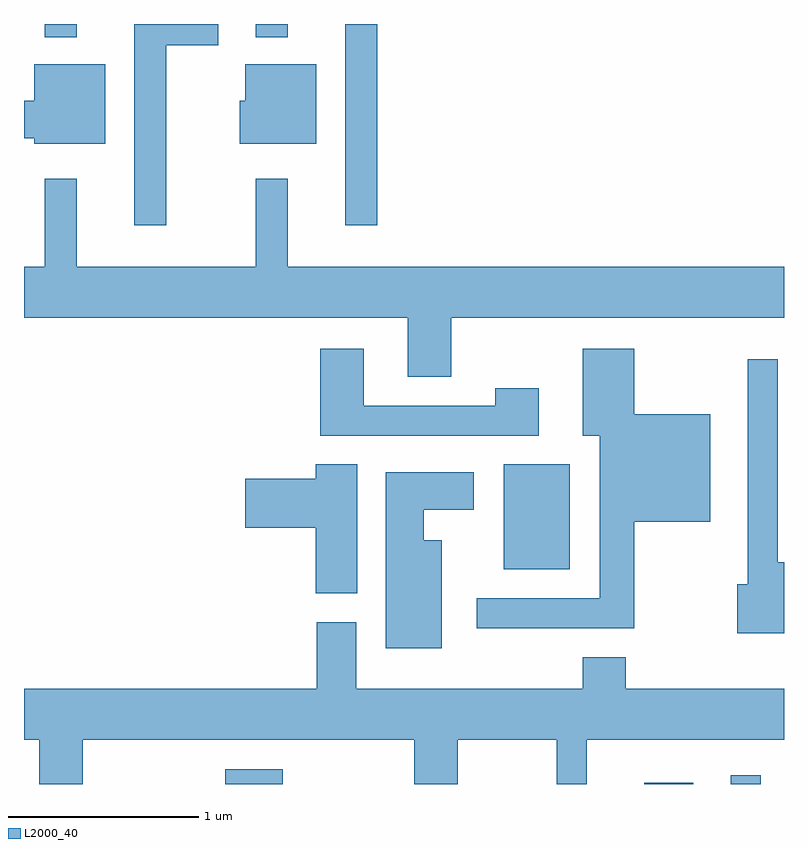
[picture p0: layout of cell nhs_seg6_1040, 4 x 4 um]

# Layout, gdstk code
import gdstk
lib = gdstk.Library(unit=1e-6, precision=1e-09)
def R(c, l, rs):  # rectangles x0, y0, x1, y1
    for r in rs: c.add(gdstk.rectangle(r[:2], r[2:], *l))
def P(c, l, *ps):  # polygons
    for p in ps: c.add(gdstk.Polygon(p, *l))
L2000_40 = (2000, 40)

nhs_seg6_1040 = lib.new_cell('nhs_seg6_1040')
R(nhs_seg6_1040, L2000_40, [(216.671,1634.162,216.974,1634.239), (218.876,1634.162,219.134,1634.169), (219.331,1634.162,219.489,1634.208), (218.136,1635.291,218.484,1635.844), (217.301,1637.103,217.469,1638.162), (215.721,1638.093,215.889,1638.162), (216.831,1638.093,216.999,1638.162)])
P(nhs_seg6_1040, L2000_40, [(216.359,1638.051),(216.634,1638.051),(216.634,1638.162),(216.191,1638.162),(216.191,1637.103),(216.359,1637.103)],
  [(216.039,1637.949),(215.666,1637.949),(215.666,1637.759),(215.611,1637.759),(215.611,1637.561),(215.666,1637.561),(215.666,1637.531),(216.039,1637.531)],
  [(217.149,1637.949),(216.776,1637.949),(216.776,1637.759),(216.746,1637.759),(216.746,1637.531),(217.149,1637.531)],
  [(217.859,1636.616),(219.611,1636.616),(219.611,1636.884),(216.999,1636.884),(216.999,1637.348),(216.831,1637.348),(216.831,1636.884),(215.889,1636.884),(215.889,1637.348),(215.721,1637.348),(215.721,1636.884),(215.611,1636.884),(215.611,1636.616),(217.631,1636.616),(217.631,1636.306),(217.859,1636.306)],
  [(218.319,1636.244),(218.091,1636.244),(218.091,1636.154),(217.399,1636.154),(217.399,1636.454),(217.171,1636.454),(217.171,1635.996),(218.319,1635.996)],
  [(218.824,1635.541),(219.224,1635.541),(219.224,1636.109),(218.824,1636.109),(218.824,1636.454),(218.551,1636.454),(218.551,1635.996),(218.641,1635.996),(218.641,1635.139),(217.993,1635.139),(217.993,1634.981),(218.824,1634.981)],
  [(219.611,1635.329),(219.579,1635.329),(219.579,1636.398),(219.421,1636.398),(219.421,1635.214),(219.366,1635.214),(219.366,1634.956),(219.611,1634.956)],
  [(217.364,1635.844),(217.146,1635.844),(217.146,1635.769),(216.776,1635.769),(216.776,1635.511),(217.146,1635.511),(217.146,1635.166),(217.364,1635.166)],
  [(217.809,1635.444),(217.714,1635.444),(217.714,1635.606),(217.979,1635.606),(217.979,1635.804),(217.516,1635.804),(217.516,1634.876),(217.809,1634.876)],
  [(215.919,1634.396),(217.666,1634.396),(217.666,1634.162),(217.894,1634.162),(217.894,1634.396),(218.416,1634.396),(218.416,1634.162),(218.574,1634.162),(218.574,1634.396),(219.611,1634.396),(219.611,1634.664),(218.779,1634.664),(218.779,1634.829),(218.551,1634.829),(218.551,1634.664),(217.359,1634.664),(217.359,1635.014),(217.151,1635.014),(217.151,1634.664),(215.611,1634.664),(215.611,1634.396),(215.691,1634.396),(215.691,1634.162),(215.919,1634.162)])

lib.write_gds('nhs_seg6_1040.gds')
